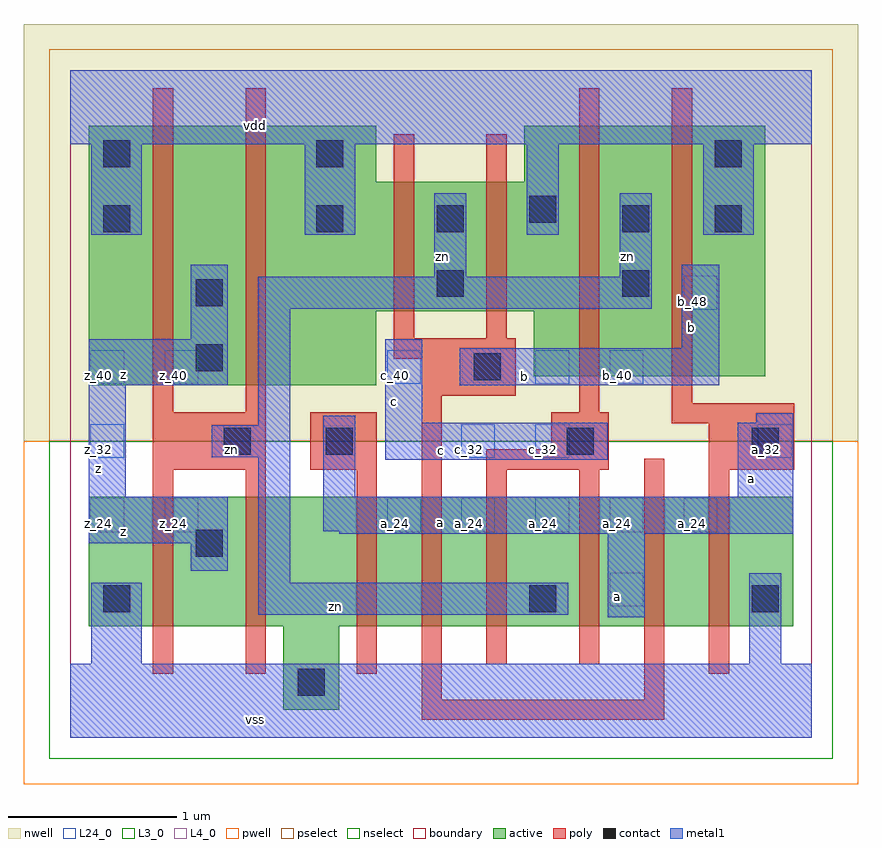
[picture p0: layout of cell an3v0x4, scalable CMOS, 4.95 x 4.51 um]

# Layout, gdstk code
import gdstk
lib = gdstk.Library(unit=1e-6, precision=2.5e-09)
def R(c, l, rs):  # rectangles x0, y0, x1, y1
    for r in rs: c.add(gdstk.rectangle(r[:2], r[2:], *l))
def A(c, l, x, y, w, h, nx, ny, dx, dy):  # array of equal rectangles
    R(c, l, [(x+i*dx, y+j*dy, x+i*dx+w, y+j*dy+h) for i in range(nx) for j in range(ny)])
L3_0 = (3, 0)
L4_0 = (4, 0)
L24_0 = (24, 0)
contact = (25, 0)
pwell = (41, 0)
nwell = (42, 0)
active = (43, 0)
pselect = (44, 0)
nselect = (45, 0)
poly = (46, 0)
metal1 = (49, 0)
boundary = (63, 0)

an3v0x4 = lib.new_cell('an3v0x4')
R(an3v0x4, L3_0, [(1.265,0.165,1.595,0.66), (0.11,0.66,4.29,1.43)])
R(an3v0x4, L4_0, [(0.11,2.09,1.815,2.53), (2.75,2.145,4.125,2.53), (0.11,2.53,4.125,3.3), (0.11,3.3,1.815,3.63), (2.695,3.3,4.125,3.63)])
A(an3v0x4, L24_0, 0.12, 1.22, 0.2, 0.2, 1, 3, 0, 0.44)
A(an3v0x4, L24_0, 1.88, 1.22, 0.2, 0.2, 5, 1, 0.44, 0)
R(an3v0x4, L24_0, [(3.2,0.78,3.4,0.98), (0.56,1.22,0.76,1.42), (2.32,1.66,2.52,1.86), (2.76,1.66,2.96,1.86), (4.08,1.66,4.28,1.86), (0.56,2.1,0.76,2.3), (1.88,2.1,2.08,2.3), (2.76,2.1,2.96,2.3), (3.2,2.1,3.4,2.3), (3.64,2.54,3.84,2.74)])
R(an3v0x4, contact, [(1.35,0.25,1.51,0.41), (0.195,0.745,0.355,0.905), (2.725,0.745,2.885,0.905), (4.045,0.745,4.205,0.905), (0.745,1.075,0.905,1.235), (0.91,1.68,1.07,1.84), (1.515,1.68,1.675,1.84), (2.945,1.68,3.105,1.84), (4.045,1.68,4.205,1.84), (2.395,2.12,2.555,2.28), (0.745,2.175,0.905,2.335), (0.745,2.56,0.905,2.72), (2.175,2.615,2.335,2.775), (3.275,2.615,3.435,2.775), (0.195,3,0.355,3.16), (1.46,3,1.62,3.16), (2.175,3,2.335,3.16), (3.275,3,3.435,3.16), (3.825,3,3.985,3.16), (2.725,3.055,2.885,3.215), (0.195,3.385,0.355,3.545), (1.46,3.385,1.62,3.545), (3.825,3.385,3.985,3.545)])
R(an3v0x4, pwell, [(-0.275,-0.275,4.675,1.76)])
R(an3v0x4, nwell, [(-0.275,1.76,4.675,4.235)])
R(an3v0x4, active, [(1.265,0.165,1.595,0.66), (0.11,0.66,4.29,1.43), (0.11,2.09,1.815,2.53), (2.75,2.145,4.125,2.53), (0.11,2.53,4.125,3.3), (0.11,3.3,1.815,3.63), (2.695,3.3,4.125,3.63)])
R(an3v0x4, pselect, [(-0.125,1.76,4.525,4.085)])
R(an3v0x4, nselect, [(-0.125,-0.125,4.525,1.76)])
R(an3v0x4, poly, [(2.085,0.105,3.525,0.225), (2.085,0.225,2.205,2.03), (3.405,0.225,3.525,1.655), (0.49,0.38,0.61,1.59), (1.04,0.38,1.16,1.59), (1.7,0.38,1.82,1.59), (3.79,0.38,3.91,1.59), (2.47,0.435,2.59,1.59), (3.02,0.435,3.14,1.59), (0.49,1.59,1.16,1.93), (1.425,1.59,1.82,1.93), (2.47,1.59,3.195,1.71), (3.79,1.59,4.295,1.865), (2.855,1.71,3.195,1.93), (3.57,1.865,4.295,1.985), (0.49,1.93,0.61,3.855), (1.04,1.93,1.16,3.855), (3.02,1.93,3.14,3.855), (3.57,1.985,3.69,3.855), (2.085,2.03,2.645,2.25), (1.92,2.25,2.645,2.37), (1.92,2.37,2.04,3.58), (2.47,2.37,2.59,3.58)])
R(an3v0x4, metal1, [(0,0,4.4,0.44), (0.125,0.44,0.425,0.92), (4.03,0.44,4.22,0.975), (3.19,0.715,3.41,1.21), (1.115,0.73,2.955,0.92), (1.115,0.92,1.305,1.665), (0.715,0.99,0.935,1.155), (0.11,1.155,0.935,1.43), (1.595,1.21,4.29,1.225), (1.5,1.225,4.29,1.43), (0.11,1.43,0.33,2.09), (1.5,1.43,1.69,1.91), (3.96,1.43,4.29,1.87), (1.87,1.65,3.19,1.87), (0.84,1.665,1.305,1.855), (1.115,1.855,1.305,2.545), (1.87,1.87,2.09,2.365), (4.07,1.87,4.29,1.925), (0.11,2.09,0.935,2.365), (2.31,2.09,3.85,2.31), (3.63,2.31,3.85,2.805), (0.715,2.365,0.935,2.805), (1.115,2.545,3.45,2.735), (2.16,2.735,2.35,3.23), (3.26,2.735,3.45,3.23), (0.125,2.985,0.425,3.52), (1.39,2.985,1.69,3.52), (2.71,2.985,2.9,3.52), (3.755,2.985,4.055,3.52), (0,3.52,4.4,3.96)])
R(an3v0x4, boundary, [(0,0,4.4,3.96)])
an3v0x4.add(gdstk.Label('vss', (1.1,0.11), layer=49, texttype=0))
an3v0x4.add(gdstk.Label('a', (3.245,0.8375), layer=49, texttype=0))
an3v0x4.add(gdstk.Label('zn', (1.575,0.7775), layer=49, texttype=0))
an3v0x4.add(gdstk.Label('a', (2.1975,1.275), layer=49, texttype=0))
an3v0x4.add(gdstk.Label('a', (4.0425,1.54), layer=49, texttype=0))
an3v0x4.add(gdstk.Label('c', (2.2,1.705), layer=49, texttype=0))
an3v0x4.add(gdstk.Label('b', (2.695,2.145), layer=49, texttype=0))
an3v0x4.add(gdstk.Label('b', (3.685,2.4325), layer=49, texttype=0))
an3v0x4.add(gdstk.Label('c', (1.925,1.9925), layer=49, texttype=0))
an3v0x4.add(gdstk.Label('z', (0.315,1.2225), layer=49, texttype=0))
an3v0x4.add(gdstk.Label('zn', (0.955,1.7125), layer=49, texttype=0))
an3v0x4.add(gdstk.Label('z', (0.165,1.595), layer=49, texttype=0))
an3v0x4.add(gdstk.Label('z', (0.315,2.1575), layer=49, texttype=0))
an3v0x4.add(gdstk.Label('zn', (3.3075,2.8575), layer=49, texttype=0))
an3v0x4.add(gdstk.Label('zn', (2.2075,2.8575), layer=49, texttype=0))
an3v0x4.add(gdstk.Label('vdd', (1.1,3.63), layer=49, texttype=0))
an3v0x4.add(gdstk.Label('z_40', (0.61,2.15), layer=24, texttype=0))
an3v0x4.add(gdstk.Label('a_32', (4.13,1.71), layer=24, texttype=0))
an3v0x4.add(gdstk.Label('b_48', (3.69,2.59), layer=24, texttype=0))
an3v0x4.add(gdstk.Label('a_24', (3.69,1.27), layer=24, texttype=0))
an3v0x4.add(gdstk.Label('b_40', (3.25,2.15), layer=24, texttype=0))
an3v0x4.add(gdstk.Label('a_24', (3.25,1.27), layer=24, texttype=0))
an3v0x4.add(gdstk.Label('a_16', (3.25,0.83), layer=24, texttype=0))
an3v0x4.add(gdstk.Label('b_40', (2.81,2.15), layer=24, texttype=0))
an3v0x4.add(gdstk.Label('c_32', (2.81,1.71), layer=24, texttype=0))
an3v0x4.add(gdstk.Label('a_24', (2.81,1.27), layer=24, texttype=0))
an3v0x4.add(gdstk.Label('c_32', (2.37,1.71), layer=24, texttype=0))
an3v0x4.add(gdstk.Label('a_24', (2.37,1.27), layer=24, texttype=0))
an3v0x4.add(gdstk.Label('z_40', (0.17,2.15), layer=24, texttype=0))
an3v0x4.add(gdstk.Label('z_32', (0.17,1.71), layer=24, texttype=0))
an3v0x4.add(gdstk.Label('z_24', (0.17,1.27), layer=24, texttype=0))
an3v0x4.add(gdstk.Label('c_40', (1.93,2.15), layer=24, texttype=0))
an3v0x4.add(gdstk.Label('a_24', (1.93,1.27), layer=24, texttype=0))
an3v0x4.add(gdstk.Label('z_24', (0.61,1.27), layer=24, texttype=0))

lib.write_gds('an3v0x4.gds')
